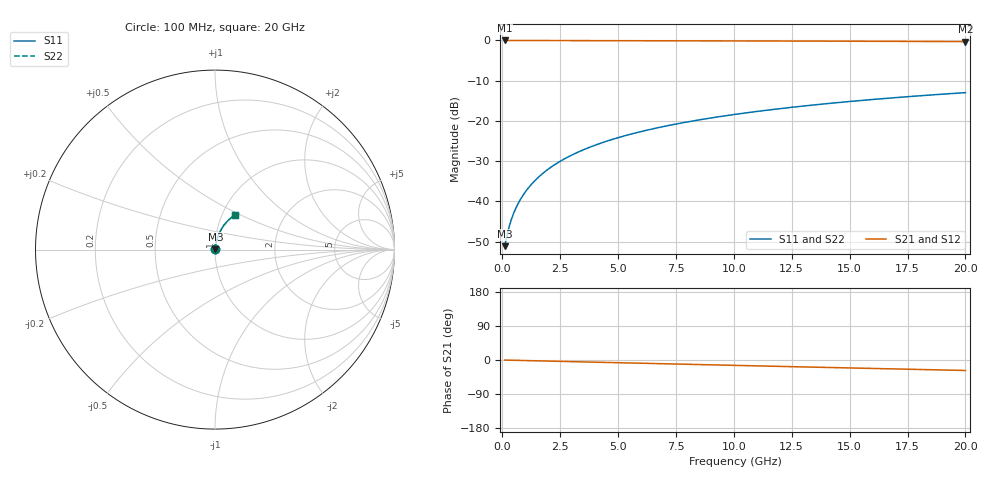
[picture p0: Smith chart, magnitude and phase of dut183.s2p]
! Touchstone file exported from HFSS 2026.1.0
!  File:  C:/ffzhzh/LocalFiles/Ansys_Project_Files/temp_train_TMRDL_183_1782983664_40604.aedt
!  Generated:  05:15:38 PM Jul  2, 2026
!  Design:  TMRDL
!  Project:  temp_train_TMRDL_183_1782983664_40604
! Variables:
!  h_bsmrdl = 2um
!  h_ox = 20um
!  h_rdl = 5um
!  h_sub = 80um
!  h_tmrdl = 3.39um
!  h_tsv = 80um
!  h_via = 3um
!  l_bsmrdl = 300um
!  l_sub = 814.3um
!  l_tmrdl = 414.3um
!  m_sub = 200um
!  pitch = 36.46um
!  r_tsv = 6um
!  s_tmrdl = 10um
!  w_bsmrdl = 18um
!  w_sub = 500um
!  w_tmrdl = 20.04um
!  x_tsv_center1 = 424.32um
!  x_tsv_center2 = 742.32um
!  x_tsv_center3 = 1176.66um
!  x_tsv_center4 = 1494.66um
!  x_tsv_center5 = 1929um
!  x_tsv_center6 = 2247um
# GHz S MA R 50.000000
! Terminal data exported
! Port[1] = TM_RDL1_1_T1
! Port[2] = TM_RDL1_1_T2
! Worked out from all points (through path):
!   200 points, 100 MHz to 20 GHz, reference 50 ohm
!   highest |S21| = -0.02 dB at 100 MHz (marker M1); lowest = -0.3 dB at 20 GHz (marker M2)
!   group delay of S21, straight-line fit = 3.84 ps
!   lowest |S11| = -51.2 dB at 100 MHz (marker M3), VSWR 1.01, Z = 50.2 + j0.143 ohm
!   |S11| at or under -10 dB: start of sweep to end of sweep
!   |S22| runs from -51.2 to -13.0 dB; largest |S21 - S12| = 2.6e-15
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0.1  0.002767 31.0  0.9976 -0.2  0.9976 -0.2  0.002767 31.0
! Gamma 0 0 0 0
! Port Impedance 50 0 50 0
0.2  0.003746 48.3  0.9975 -0.3  0.9975 -0.3  0.003746 48.3
0.3  0.004878 57.3  0.9974 -0.5  0.9974 -0.5  0.004878 57.3
0.4  0.006038 62.7  0.9973 -0.6  0.9973 -0.6  0.006038 62.7
0.5  0.007204 66.3  0.9972 -0.7  0.9972 -0.7  0.007204 66.3
0.6  0.008374 69.0  0.9971 -0.9  0.9971 -0.9  0.008374 69.0
0.8  0.01073 72.7  0.997 -1.2  0.997 -1.2  0.01073 72.7
1.1  0.01432 75.9  0.9968 -1.6  0.9968 -1.6  0.01432 75.9
1.3  0.01674 77.3  0.9967 -1.9  0.9967 -1.9  0.01674 77.3
1.6  0.02039 78.6  0.9966 -2.3  0.9966 -2.3  0.02039 78.6
2.1  0.02651 79.7  0.9963 -3.0  0.9963 -3.0  0.02651 79.7
2.7  0.03386 80.1  0.9959 -3.9  0.9959 -3.9  0.03386 80.1
3.5  0.04363 79.9  0.9952 -5.0  0.9952 -5.0  0.04363 80.0
4.2  0.05212 79.5  0.9946 -6.0  0.9946 -6.0  0.05212 79.5
5  0.06174 78.7  0.9937 -7.2  0.9937 -7.2  0.06175 78.7
5.9  0.07246 77.7  0.9926 -8.4  0.9926 -8.4  0.07246 77.7
6.8  0.08306 76.7  0.9913 -9.7  0.9913 -9.7  0.08306 76.7
8.3  0.1004 74.8  0.989 -11.8  0.989 -11.8  0.1004 74.8
10.1  0.1208 72.5  0.986 -14.3  0.986 -14.3  0.1208 72.5
13.4  0.157 68.3  0.9798 -18.8  0.9798 -18.8  0.157 68.3
16.7  0.1915 64.1  0.9728 -23.3  0.9728 -23.3  0.1915 64.1
20  0.2242 59.9  0.9651 -27.7  0.9651 -27.7  0.2242 59.9
